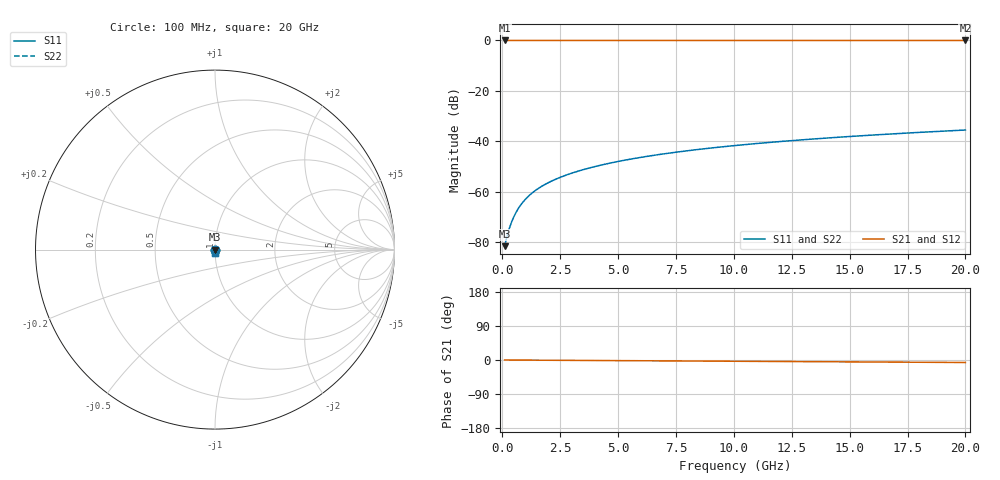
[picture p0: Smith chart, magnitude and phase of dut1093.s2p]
! Touchstone file exported from HFSS 2026.1.0
!  File:  C:/ffzhzh/LocalFiles/Ansys_Project_Files/temp_train_TSV_1093_1783190353_18472.aedt
!  Generated:  02:40:34 AM Jul  5, 2026
!  Design:  TSV
!  Project:  temp_train_TSV_1093_1783190353_18472
! Variables:
!  h_bsmrdl = 2um
!  h_ox = 20um
!  h_rdl = 5um
!  h_sub = 62.93um
!  h_tmrdl = 5um
!  h_tsv = 62.93um
!  h_via = 3um
!  l_bsmrdl = 300um
!  l_sub = 428.3um
!  l_tmrdl = 200um
!  m_sub = 200um
!  pitch = 48.85um
!  r_tsv = 14.15um
!  s_tmrdl = 10um
!  w_bsmrdl = 18um
!  w_sub = 500um
!  w_tmrdl = 12um
!  x_tsv_center1 = 206um
!  x_tsv_center2 = 524um
!  x_tsv_center3 = 736um
!  x_tsv_center4 = 1054um
!  x_tsv_center5 = 1266um
!  x_tsv_center6 = 1584um
# GHz S MA R 50.000000
! Terminal data exported
! Port[1] = TSV1_1_T1
! Port[2] = TSV1_1_T2
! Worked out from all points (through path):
!   200 points, 100 MHz to 20 GHz, reference 50 ohm
!   highest |S21| = 0.00 dB at 100 MHz (marker M1); lowest = 0.0 dB at 20 GHz (marker M2)
!   lowest |S11| = -81.6 dB at 100 MHz (marker M3), VSWR 1.00, Z = 50 - j0.00496 ohm
!   |S11| at or under -10 dB: start of sweep to end of sweep
!   |S22| runs from -81.6 to -35.5 dB; largest |S21 - S12| = 3.4e-15
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0.1  8.301e-05 -36.7  0.9999 -0.0  0.9999 -0.0  8.301e-05 -36.7
! Gamma 0 0 0 0
! Port Impedance 50 0 50 0
0.2  0.0001282 -52.8  0.9999 -0.1  0.9999 -0.1  0.0001282 -52.8
0.3  0.0001849 -59.7  0.9999 -0.1  0.9999 -0.1  0.0001849 -59.7
0.4  0.0002493 -63.3  0.9999 -0.1  0.9999 -0.1  0.0002493 -63.3
0.5  0.0003193 -65.8  0.9999 -0.2  0.9999 -0.2  0.0003193 -65.8
0.6  0.0003933 -67.8  0.9998 -0.2  0.9998 -0.2  0.0003933 -67.8
0.7  0.00047 -69.4  0.9998 -0.2  0.9998 -0.2  0.00047 -69.4
0.9  0.0006283 -72.2  0.9998 -0.3  0.9998 -0.3  0.0006283 -72.2
1.2  0.0008705 -75.2  0.9998 -0.4  0.9998 -0.4  0.0008705 -75.2
1.4  0.001033 -76.8  0.9998 -0.5  0.9998 -0.5  0.001033 -76.8
1.6  0.001195 -78.1  0.9997 -0.5  0.9997 -0.5  0.001195 -78.1
2.1  0.0016 -80.4  0.9997 -0.7  0.9997 -0.7  0.0016 -80.4
2.7  0.002087 -82.2  0.9997 -0.9  0.9997 -0.9  0.002087 -82.2
3.5  0.00274 -83.7  0.9996 -1.2  0.9996 -1.2  0.00274 -83.7
4.2  0.003315 -84.7  0.9996 -1.4  0.9996 -1.4  0.003315 -84.7
5  0.003977 -85.5  0.9996 -1.7  0.9996 -1.7  0.003977 -85.5
6.8  0.005482 -87.0  0.9995 -2.2  0.9995 -2.2  0.005482 -87.0
8.3  0.006747 -88.0  0.9994 -2.7  0.9994 -2.7  0.006747 -88.0
10.1  0.008271 -89.1  0.9994 -3.3  0.9994 -3.3  0.008271 -89.1
13.4  0.01108 -90.8  0.9992 -4.4  0.9992 -4.4  0.01108 -90.8
16.7  0.01389 -92.3  0.9991 -5.5  0.9991 -5.5  0.01389 -92.3
20  0.01672 -93.6  0.999 -6.6  0.999 -6.6  0.01672 -93.6
